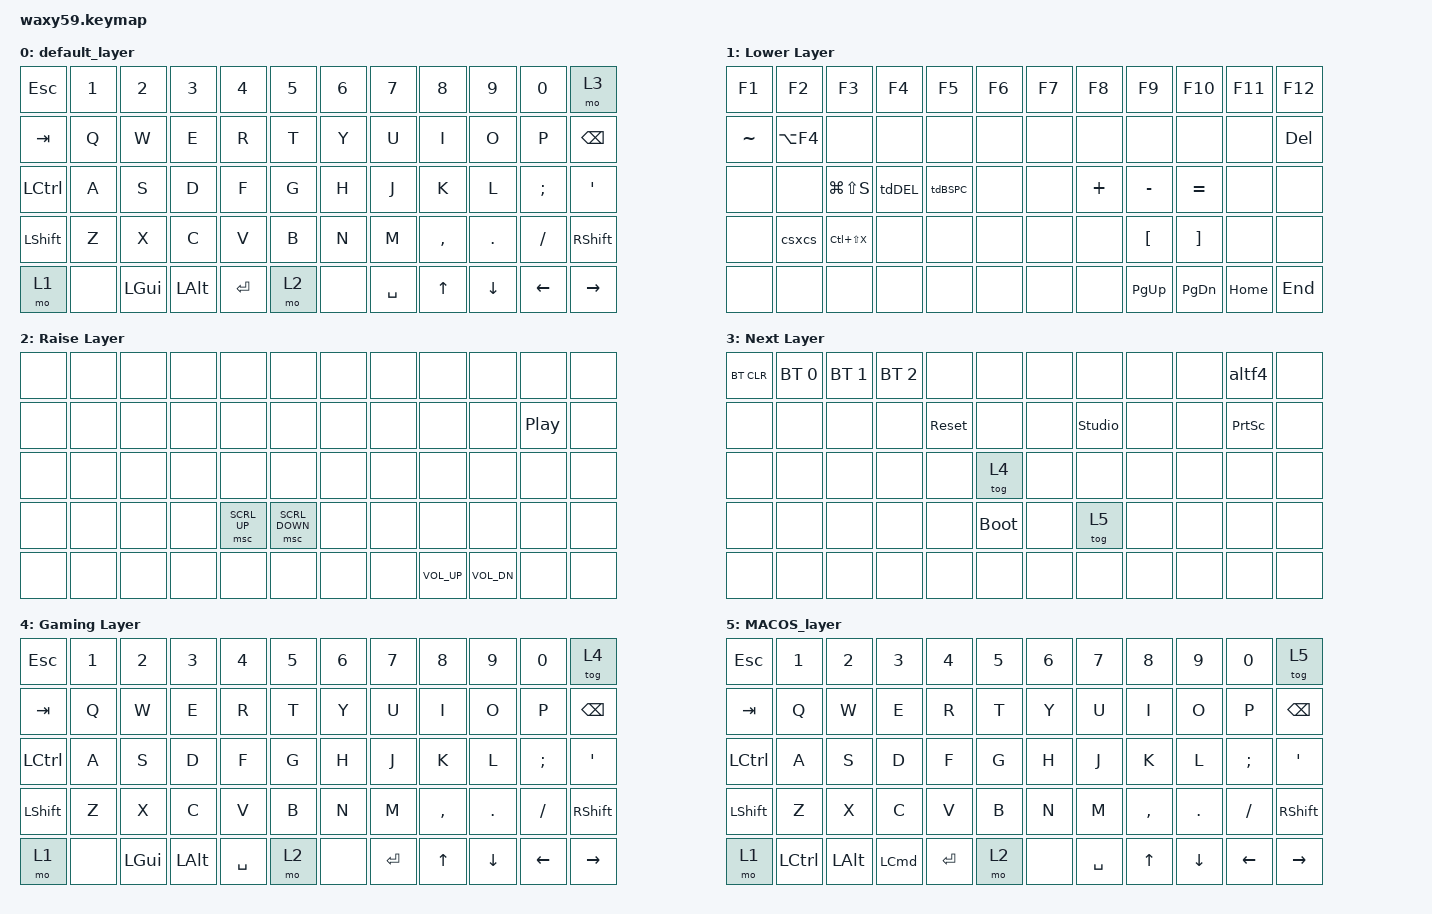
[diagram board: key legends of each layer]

#define ZMK_POINTING_DEFAULT_SCRL_VAL 10    // default: 10

#include <behaviors.dtsi>
#include <dt-bindings/zmk/keys.h>
#include <dt-bindings/zmk/bt.h>
#include <dt-bindings/zmk/pointing.h>

/ {

    macros {
        altf4: altf4 {
            compatible = "zmk,behavior-macro";
            #binding-cells = <0>;
            bindings
                = <&macro_press &kp LALT>
                , <&macro_tap &kp F4>
                , <&macro_release &kp LALT>
				;
        };

        csx: csx {
            compatible = "zmk,behavior-macro";
            #binding-cells = <0>;
            bindings
                = <&macro_press &kp LCTRL>
                , <&macro_press &kp LSHFT>
                , <&macro_tap &kp X>
                , <&macro_release &kp LCTRL>
                , <&macro_release &kp LSHFT>
				;
        };

        wss: wss {
            compatible = "zmk,behavior-macro";
            #binding-cells = <0>;
            bindings
                = <&macro_press &kp LGUI>
                , <&macro_press &kp LSHFT>
                , <&macro_tap &kp S>
                , <&macro_release &kp LGUI>
                , <&macro_release &kp LSHFT>
				;
        };
        csxcs: csxcs {
           compatible = "zmk,behavior-macro";
            #binding-cells = <0>;
            bindings
                = <&macro_press &kp LCTRL>
                , <&macro_press &kp LSHFT>
                , <&macro_tap &kp X>
                , <&macro_release &kp LCTRL>
                , <&macro_release &kp LSHFT>
                , <&macro_press &kp LCTRL>
                , <&macro_tap &kp S>
                , <&macro_release &kp LCTRL>
                ;
        };

    };

    behaviors {
        tdDEL: tap_dance_0 {
            compatible = "zmk,behavior-tap-dance";
            #binding-cells = <0>;
            tapping-term-ms = <200>;
            bindings = <&kp DEL>, <&kp LC(DEL)>;
        };

        tdBSPC: tap_dance_1 {
            compatible = "zmk,behavior-tap-dance";
            #binding-cells = <0>;
            tapping-term-ms = <200>;
            bindings = <&kp BSPC>, <&kp LC(BSPC)>;
        };
    };

        keymap {
        compatible = "zmk,keymap";

        default_layer {
            bindings = <
                &kp ESC	  &kp N1	&kp N2	 &kp N3	&kp N4	 &kp N5     &kp N6      &kp N7          &kp N8	    &kp N9     &kp N0      &mo 3
		        &kp TAB   &kp Q     &kp W    &kp E   &kp R   &kp T      &kp Y        &kp U          &kp I       &kp O      &kp P       &kp BSPC
                &kp LCTRL  &kp A     &kp S    &kp D   &kp F   &kp G      &kp H        &kp J          &kp K       &kp L      &kp SEMI    &kp APOS
                &kp LSHFT &kp Z     &kp X    &kp C   &kp V   &kp B      &kp N        &kp M          &kp COMMA   &kp DOT    &kp FSLH    &kp RSHFT
                &mo 1     &none  &kp LGUI &kp LALT    &kp RET &mo 2     &none        &kp SPACE      &kp UP      &kp DOWN   &kp LEFT    &kp RIGHT
            				
            >;
        };

        lower_layer {
            display-name = "Lower Layer";
            //  ESC              1          2           3             4          5          6         7       8               9               0                     -
            bindings = <
                &kp F1      &kp F2        &kp F3       &kp F4     &kp F5         &kp F6     &kp F7  &kp F8    &kp F9       &kp F10       &kp F11                 &kp F12
                &kp TILDE   &kp LA(F4)   &none         &none       &none         &none      &none    &none    &none        &none           &none                &kp DEL 
                &none       &none        &kp LG(LS(S)) &tdDEL      &tdBSPC       &none      &none    &kp PLUS &kp MINUS    &kp EQUAL       &none                 &none 
                &none       &csxcs        &kp LC(LS(X)) &none        &none        &none      &none    &none    &kp LBKT     &kp RBKT        &none                  &none 
                &none       &none        &none         &none        &none        &none      &none    &none    &kp PG_UP    &kp PG_DN       &kp HOME              &kp END 
            >;
        };

        raise_layer {
            display-name = "Raise Layer";
            //  ESC             1             2          3            4         5               6               7       8          9               0               -
            bindings = <
                &none       &none        &none        &none         &none        &none          &none      &none    &none        &none           &none       &none 
                &none       &none        &none        &none        &none        &none           &none       &none    &none        &none           &kp C_PP    &none 
                &none       &none        &none        &none        &none        &none            &none       &none    &none        &none           &none       &none 
                &none       &none        &none        &none        &msc SCRL_UP &msc SCRL_DOWN  &none       &none    &none        &none           &none       &none 
                &none       &none        &none        &none        &none        &none            &none       &none    &kp C_VOL_UP &kp C_VOL_DN    &none       &none 
            >;
        };

        next_layer {
            display-name = "Next Layer";
            //  ESC             1             2          3            4         5           6     7                  8          9               0               -
            bindings = <
                &bt BT_CLR  &bt BT_SEL 0 &bt BT_SEL 1 &bt BT_SEL 2 &none        &none       &none &none             &none        &none           &altf4      &none 
                &none       &none        &none        &none        &sys_reset   &none       &none &studio_unlock    &none        &none           &kp PSCRN   &none 
                &none       &none        &none        &none        &none        &tog 4      &none &none             &none        &none           &none       &none 
                &none       &none        &none        &none        &none        &bootloader &none &tog 5             &none        &none           &none       &none 
                &none       &none        &none        &none        &none        &none       &none &none             &none        &none           &none       &none 
            >;
        };
        gaming_layer {
            display-name = "Gaming Layer";
            //  ESC              1          2           3             4          5      6         7       8               9               0              -
            bindings = <
                &kp ESC	  &kp N1	&kp N2	        &kp N3	        &kp N4	 &kp N5     &kp N6      &kp N7         &kp N8	   &kp N9     &kp N0      &tog 4
		        &kp TAB   &kp Q     &kp W           &kp E           &kp R   &kp T      &kp Y        &kp U          &kp I       &kp O      &kp P       &kp BSPC
                &kp LCTRL  &kp A     &kp S           &kp D          &kp F   &kp G      &kp H        &kp J          &kp K       &kp L      &kp SEMI    &kp APOS
                &kp LSHFT &kp Z     &kp X           &kp C           &kp V   &kp B      &kp N        &kp M          &kp COMMA   &kp DOT    &kp FSLH    &kp RSHFT
                &mo 1     &none  &kp LGUI           &kp LALT        &kp SPACE &mo 2     &none      &kp RET         &kp UP      &kp DOWN   &kp LEFT    &kp RIGHT 
            >;
        };

        MACOS_layer {
            display-name = "MACOS_layer";
            //  ESC              1        2           3             4        5        6               7           8               9               0              -
            bindings = <
                &kp ESC	  &kp N1	&kp N2	      &kp N3	      &kp N4  &kp N5     &kp N6      &kp N7         &kp N8	   &kp N9     &kp N0            &tog 5
		        &kp TAB   &kp Q     &kp W         &kp E           &kp R   &kp T      &kp Y        &kp U          &kp I       &kp O      &kp P             &kp BSPC
                &kp LCTRL  &kp A    &kp S         &kp D           &kp F   &kp G      &kp H        &kp J          &kp K       &kp L      &kp SEMI          &kp APOS
                &kp LSHFT &kp Z     &kp X         &kp C           &kp V   &kp B      &kp N        &kp M          &kp COMMA   &kp DOT    &kp FSLH          &kp RSHFT
                &mo 1     &kp LCTRL &kp LALT   &kp LCMD           &kp RET &mo 2      &none         &kp SPACE     &kp UP      &kp DOWN   &kp LEFT           &kp RIGHT 
            >;
        };


    };
};
